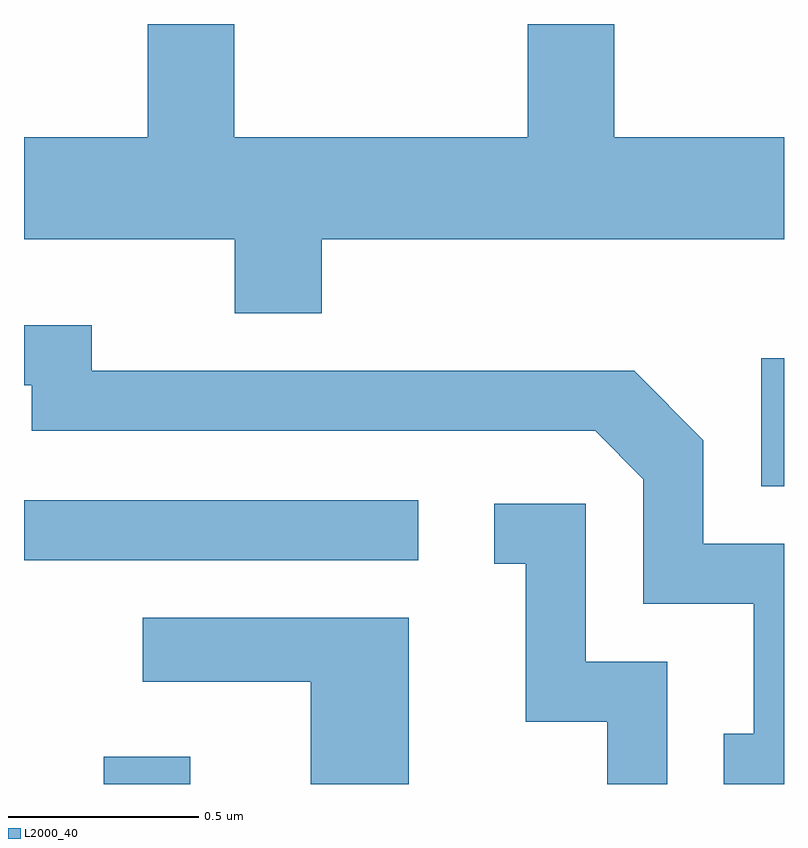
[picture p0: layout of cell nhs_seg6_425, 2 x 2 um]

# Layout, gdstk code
import gdstk
lib = gdstk.Library(unit=1e-6, precision=1e-09)
def R(c, l, rs):  # rectangles x0, y0, x1, y1
    for r in rs: c.add(gdstk.rectangle(r[:2], r[2:], *l))
def P(c, l, *ps):  # polygons
    for p in ps: c.add(gdstk.Polygon(p, *l))
L2000_40 = (2000, 40)

nhs_seg6_425 = lib.new_cell('nhs_seg6_425')
R(nhs_seg6_425, L2000_40, [(188.821,1544.162,189.049,1544.234), (188.611,1544.751,189.648,1544.909), (190.551,1544.946,190.611,1545.283)])
P(nhs_seg6_425, L2000_40, [(189.394,1545.596),(190.611,1545.596),(190.611,1545.864),(190.164,1545.864),(190.164,1546.162),(189.936,1546.162),(189.936,1545.864),(189.164,1545.864),(189.164,1546.162),(188.936,1546.162),(188.936,1545.864),(188.611,1545.864),(188.611,1545.596),(189.166,1545.596),(189.166,1545.401),(189.394,1545.401)],
  [(190.611,1544.794),(190.399,1544.794),(190.399,1545.067),(190.217,1545.249),(188.789,1545.249),(188.789,1545.369),(188.611,1545.369),(188.611,1545.211),(188.631,1545.211),(188.631,1545.091),(190.114,1545.091),(190.241,1544.964),(190.241,1544.636),(190.531,1544.636),(190.531,1544.294),(190.453,1544.294),(190.453,1544.162),(190.611,1544.162)],
  [(190.304,1544.484),(190.089,1544.484),(190.089,1544.899),(189.848,1544.899),(189.848,1544.741),(189.931,1544.741),(189.931,1544.326),(190.146,1544.326),(190.146,1544.162),(190.304,1544.162)],
  [(189.624,1544.599),(188.923,1544.599),(188.923,1544.431),(189.366,1544.431),(189.366,1544.162),(189.624,1544.162)])

lib.write_gds('nhs_seg6_425.gds')
